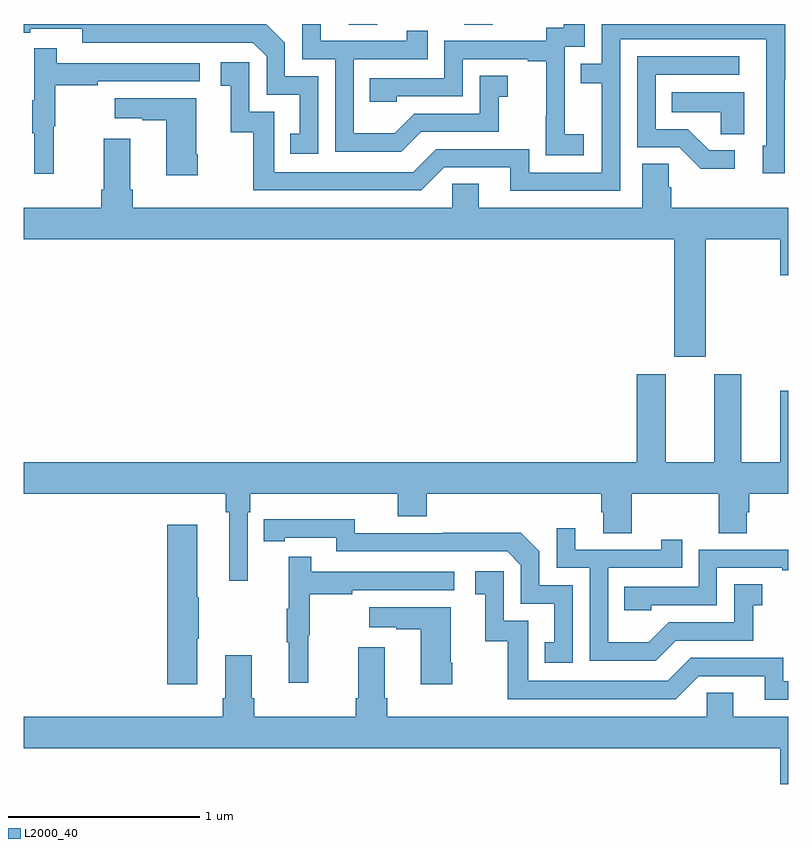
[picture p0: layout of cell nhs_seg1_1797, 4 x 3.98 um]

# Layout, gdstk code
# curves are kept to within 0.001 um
import gdstk
lib = gdstk.Library(unit=1e-6, precision=1e-09)
def R(c, l, rs):  # rectangles x0, y0, x1, y1
    for r in rs: c.add(gdstk.rectangle(r[:2], r[2:], *l))
def P(c, l, *ps):  # polygons
    for p in ps: c.add(gdstk.Polygon(p, *l))
L2000_40 = (2000, 40)

nhs_seg1_1797 = lib.new_cell('nhs_seg1_1797')
R(nhs_seg1_1797, L2000_40, [(210.701,546.196,210.849,546.199), (211.306,546.196,211.453,546.199)])
P(nhs_seg1_1797, L2000_40, [(211.93,545.623),(211.832,545.623),(211.832,545.852),(211.83,545.852),(211.83,546.081),(211.935,546.081),(211.935,546.199),(211.827,546.199),(211.827,546.18),(211.734,546.18),(211.734,546.111),(211.2,546.111),(211.2,545.916),(210.811,545.916),(210.811,545.793),(210.951,545.793),(210.951,545.82),(211.296,545.82),(211.296,546.015),(211.637,546.015),(211.637,546.003),(211.733,546.003),(211.733,545.719),(211.732,545.719),(211.732,545.513),(211.93,545.513)],
  [(212.121,546.12),(212.886,546.12),(212.886,545.562),(212.867,545.562),(212.867,545.418),(212.982,545.418),(212.982,545.911),(212.985,545.911),(212.985,546.199),(212.025,546.199),(212.025,545.991),(211.915,545.991),(211.915,545.89),(212.025,545.89),(212.025,545.421),(211.644,545.421),(211.644,545.544),(211.158,545.544),(211.038,545.424),(210.309,545.424),(210.309,545.739),(210.18,545.739),(210.18,545.998),(210.03,545.998),(210.03,545.877),(210.083,545.877),(210.083,545.631),(210.201,545.631),(210.201,545.328),(211.08,545.328),(211.2,545.448),(211.547,545.448),(211.547,545.325),(212.121,545.325)],
  [(210.54,545.925),(210.366,545.925),(210.366,546.102),(210.269,546.199),(209,546.199),(209,546.154),(209.032,546.154),(209.032,546.174),(209.304,546.174),(209.304,546.102),(210.198,546.102),(210.27,546.03),(210.27,545.829),(210.443,545.829),(210.443,545.625),(210.394,545.625),(210.394,545.52),(210.54,545.52)],
  [(211.081,545.634),(211.485,545.634),(211.485,545.819),(211.534,545.819),(211.534,545.929),(211.386,545.929),(211.386,545.73),(211.044,545.73),(210.94,545.626),(210.726,545.626),(210.726,546.015),(211.115,546.015),(211.115,546.163),(211.004,546.163),(211.004,546.111),(210.553,546.111),(210.553,546.199),(210.456,546.199),(210.456,546.015),(210.63,546.015),(210.63,545.529),(210.976,545.529)],
  [(209.156,545.664),(209.164,545.664),(209.164,545.878),(209.387,545.878),(209.387,545.898),(209.92,545.898),(209.92,545.994),(209.171,545.994),(209.171,546.073),(209.054,546.073),(209.054,545.801),(209.043,545.801),(209.043,545.627),(209.054,545.627),(209.054,545.415),(209.156,545.415)],
  [(212.722,545.538),(212.587,545.538),(212.476,545.649),(212.307,545.649),(212.307,545.934),(212.746,545.934),(212.746,546.03),(212.211,546.03),(212.211,545.553),(212.43,545.553),(212.543,545.441),(212.722,545.441)],
  [(212.77,545.842),(212.392,545.842),(212.392,545.738),(212.649,545.738),(212.649,545.623),(212.77,545.623)],
  [(209.91,545.518),(209.902,545.518),(209.902,545.809),(209.475,545.809),(209.475,545.705),(209.618,545.705),(209.618,545.695),(209.744,545.695),(209.744,545.406),(209.91,545.406)],
  [(212.569,545.072),(212.96,545.072),(212.96,544.884),(213,544.884),(213,545.236),(212.39,545.236),(212.39,545.345),(212.376,545.345),(212.376,545.468),(212.237,545.468),(212.237,545.236),(211.381,545.236),(211.381,545.363),(211.242,545.363),(211.242,545.236),(209.57,545.236),(209.57,545.332),(209.557,545.332),(209.557,545.599),(209.417,545.599),(209.417,545.332),(209.405,545.332),(209.405,545.236),(209,545.236),(209,545.072),(212.405,545.072),(212.405,544.458),(212.569,544.458)],
  [(210.171,543.644),(210.185,543.644),(210.185,543.74),(210.956,543.74),(210.956,543.623),(211.109,543.623),(211.109,543.74),(212.021,543.74),(212.021,543.642),(212.033,543.642),(212.033,543.532),(212.181,543.532),(212.181,543.74),(212.638,543.74),(212.638,543.532),(212.785,543.532),(212.785,543.642),(212.798,543.642),(212.798,543.74),(213,543.74),(213,544.279),(212.96,544.279),(212.96,543.904),(212.755,543.904),(212.755,544.366),(212.615,544.366),(212.615,543.904),(212.359,543.904),(212.359,544.366),(212.207,544.366),(212.207,543.904),(209,543.904),(209,543.74),(210.055,543.74),(210.055,543.644),(210.074,543.644),(210.074,543.285),(210.171,543.285)],
  [(211.872,543.261),(211.698,543.261),(211.698,543.438),(211.6,543.536),(211.192,543.536),(211.192,543.534),(210.732,543.534),(210.732,543.607),(210.256,543.606),(210.256,543.49),(210.364,543.49),(210.364,543.51),(210.636,543.51),(210.636,543.438),(211.53,543.438),(211.602,543.366),(211.602,543.165),(211.775,543.165),(211.775,542.961),(211.726,542.961),(211.726,542.856),(211.872,542.856)],
  [(209.908,542.98),(209.916,542.98),(209.916,543.197),(209.908,543.197),(209.908,543.577),(209.75,543.577),(209.75,542.742),(209.908,542.742)],
  [(212.413,542.97),(212.817,542.97),(212.817,543.155),(212.866,543.155),(212.866,543.265),(212.718,543.265),(212.718,543.066),(212.376,543.066),(212.272,542.962),(212.058,542.962),(212.058,543.351),(212.447,543.351),(212.447,543.499),(212.336,543.499),(212.336,543.447),(211.885,543.447),(211.885,543.559),(211.788,543.559),(211.788,543.351),(211.962,543.351),(211.962,542.865),(212.308,542.865)],
  [(212.283,543.156),(212.628,543.156),(212.628,543.351),(212.969,543.351),(212.969,543.339),(213,543.339),(213,543.447),(212.532,543.447),(212.532,543.252),(212.143,543.252),(212.143,543.129),(212.283,543.129)],
  [(210.488,543),(210.496,543),(210.496,543.214),(210.719,543.214),(210.719,543.234),(211.252,543.234),(211.252,543.33),(210.503,543.33),(210.503,543.409),(210.386,543.409),(210.386,543.137),(210.375,543.137),(210.375,542.963),(210.386,542.963),(210.386,542.751),(210.488,542.751)],
  [(213,542.757),(212.976,542.757),(212.976,542.88),(212.49,542.88),(212.37,542.76),(211.641,542.76),(211.641,543.075),(211.512,543.075),(211.512,543.334),(211.362,543.334),(211.362,543.213),(211.415,543.213),(211.415,542.967),(211.533,542.967),(211.533,542.664),(212.412,542.664),(212.532,542.784),(212.879,542.784),(212.879,542.661),(213,542.661)],
  [(211.242,542.854),(211.234,542.854),(211.234,543.145),(210.807,543.145),(210.807,543.041),(210.95,543.041),(210.95,543.031),(211.076,543.031),(211.076,542.742),(211.242,542.742)],
  [(213,542.572),(212.713,542.572),(212.713,542.699),(212.574,542.699),(212.574,542.572),(210.902,542.572),(210.902,542.668),(210.889,542.668),(210.889,542.935),(210.749,542.935),(210.749,542.668),(210.737,542.668),(210.737,542.572),(210.206,542.572),(210.206,542.668),(210.193,542.668),(210.193,542.893),(210.053,542.893),(210.053,542.668),(210.041,542.668),(210.041,542.572),(209,542.572),(209,542.408),(212.96,542.408),(212.96,542.22),(213,542.22)])

lib.write_gds('nhs_seg1_1797.gds')
